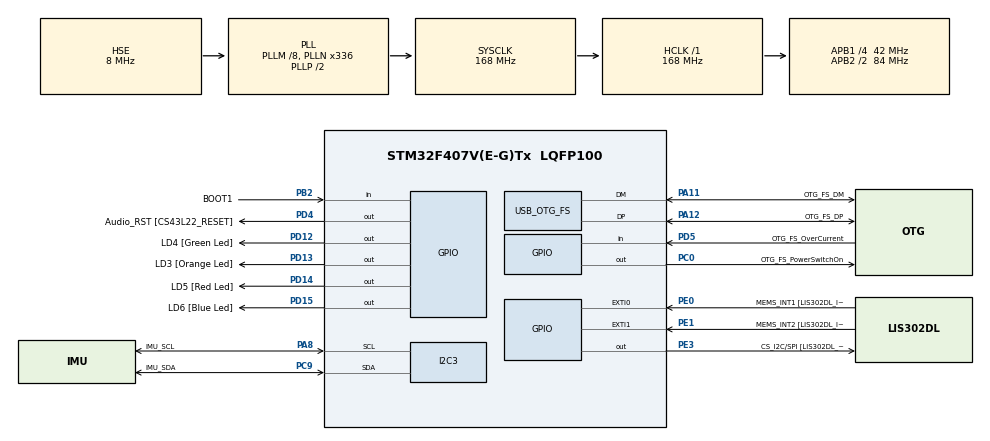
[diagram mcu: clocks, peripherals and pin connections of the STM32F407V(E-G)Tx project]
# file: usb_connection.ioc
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I2C3.I2C_Mode=I2C_Fast
Mcu.Family=STM32F4
Mcu.Name=STM32F407V(E-G)Tx
Mcu.Package=LQFP100
NVIC.OTG_FS_IRQn=true\:0\:0\:false\:false\:true\:true
NVIC.PriorityGroup=NVIC_PRIORITYGROUP_0
PA10.GPIO_Label=OTG_FS_ID
PA10.GPIO_Mode=GPIO_MODE_AF_PP
PA10.GPIO_PuPd=GPIO_NOPULL
PA10.GPIO_Speed=GPIO_SPEED_FREQ_LOW
PA10.Signal=USB_OTG_FS_ID
PA11.GPIO_Label=OTG_FS_DM
PA11.GPIO_Mode=GPIO_MODE_AF_PP
PA11.GPIO_PuPd=GPIO_NOPULL
PA11.GPIO_Speed=GPIO_SPEED_FREQ_LOW
PA11.Mode=Device_Only
PA11.Signal=USB_OTG_FS_DM
PA12.GPIO_Label=OTG_FS_DP
PA12.GPIO_Mode=GPIO_MODE_AF_PP
PA12.GPIO_PuPd=GPIO_NOPULL
PA12.GPIO_Speed=GPIO_SPEED_FREQ_LOW
PA12.Mode=Device_Only
PA12.Signal=USB_OTG_FS_DP
PA13.GPIO_Label=SWDIO
PA13.Signal=SYS_JTMS-SWDIO
PA14.GPIO_Label=SWCLK
PA14.Signal=SYS_JTCK-SWCLK
PA4.GPIO_Label=I2S3_WS [CS43L22_LRCK]
PA4.GPIO_Mode=GPIO_MODE_AF_PP
PA4.GPIO_PuPd=GPIO_NOPULL
PA4.GPIO_Speed=GPIO_SPEED_FREQ_LOW
PA4.Signal=I2S3_WS
PA5.GPIO_Label=SPI1_SCK [LIS302DL_SCL/SPC]
PA5.GPIO_Mode=GPIO_MODE_AF_PP
PA5.GPIO_PuPd=GPIO_NOPULL
PA5.GPIO_Speed=GPIO_SPEED_FREQ_LOW
PA5.Signal=SPI1_SCK
PA6.GPIO_Label=SPI1_MISO [LIS302DL_SDO]
PA6.GPIO_Mode=GPIO_MODE_AF_PP
PA6.GPIO_PuPd=GPIO_NOPULL
PA6.GPIO_Speed=GPIO_SPEED_FREQ_LOW
PA6.Signal=SPI1_MISO
PA7.GPIO_Label=SPI1_MOSI [LIS302DL_SDA/SDI/SDO]
PA7.GPIO_Mode=GPIO_MODE_AF_PP
PA7.GPIO_PuPd=GPIO_NOPULL
PA7.GPIO_Speed=GPIO_SPEED_FREQ_LOW
PA7.Signal=SPI1_MOSI
PA8.GPIO_Label=IMU_SCL
PA8.Mode=I2C
PA8.Signal=I2C3_SCL
PA9.GPIO_Label=VBUS_FS
PA9.GPIO_Mode=GPIO_MODE_INPUT
PA9.GPIO_PuPd=GPIO_NOPULL
PA9.Signal=USB_OTG_FS_VBUS
PB10.GPIO_Label=CLK_IN [MP45DT02_CLK]
PB10.GPIO_Mode=GPIO_MODE_AF_PP
PB10.GPIO_PuPd=GPIO_NOPULL
PB10.GPIO_Speed=GPIO_SPEED_FREQ_LOW
PB10.Signal=I2S2_CK
PB2.GPIO_Label=BOOT1
PB2.GPIO_Mode=GPIO_MODE_INPUT
PB2.GPIO_PuPd=GPIO_NOPULL
PB2.Signal=GPIO_Input
PB3.GPIO_Label=SWO
PB3.Signal=SYS_JTDO-SWO
PB6.GPIO_Label=Audio_SCL [CS43L22_SCL]
PB6.GPIO_Mode=GPIO_MODE_AF_OD
PB6.GPIO_PuPd=GPIO_NOPULL
PB6.GPIO_Speed=GPIO_SPEED_FREQ_LOW
PB6.Signal=I2C1_SCL
PB9.GPIO_Label=Audio_SDA [CS43L22_SDA]
PB9.GPIO_Mode=GPIO_MODE_AF_OD
PB9.GPIO_PuPd=GPIO_NOPULL
PB9.GPIO_Speed=GPIO_SPEED_FREQ_LOW
PB9.Signal=I2C1_SDA
PC0.GPIO_Label=OTG_FS_PowerSwitchOn
PC0.GPIO_PuPd=GPIO_NOPULL
PC0.GPIO_Speed=GPIO_SPEED_FREQ_LOW
PC0.PinState=GPIO_PIN_SET
PC0.Signal=GPIO_Output
PC10.GPIO_Label=I2S3_SCK [CS43L22_SCLK]
PC10.GPIO_Mode=GPIO_MODE_AF_PP
PC10.GPIO_PuPd=GPIO_NOPULL
PC10.GPIO_Speed=GPIO_SPEED_FREQ_LOW
PC10.Signal=I2S3_CK
PC12.GPIO_Label=I2S3_SD [CS43L22_SDIN]
PC12.GPIO_Mode=GPIO_MODE_AF_PP
PC12.GPIO_PuPd=GPIO_NOPULL
PC12.GPIO_Speed=GPIO_SPEED_FREQ_LOW
PC12.Signal=I2S3_SD
PC14-OSC32_IN.GPIO_Label=PC14-OSC32_IN
PC14-OSC32_IN.Signal=RCC_OSC32_IN
PC15-OSC32_OUT.GPIO_Label=PC15-OSC32_OUT
PC15-OSC32_OUT.Signal=RCC_OSC32_OUT
PC3.GPIO_Label=PDM_OUT [MP45DT02_DOUT]
PC3.GPIO_Mode=GPIO_MODE_AF_PP
PC3.GPIO_PuPd=GPIO_NOPULL
PC3.GPIO_Speed=GPIO_SPEED_FREQ_LOW
PC3.Signal=I2S2_SD
PC7.GPIO_Label=I2S3_MCK [CS43L22_MCLK]
PC7.GPIO_Mode=GPIO_MODE_AF_PP
PC7.GPIO_PuPd=GPIO_NOPULL
PC7.GPIO_Speed=GPIO_SPEED_FREQ_LOW
PC7.Signal=I2S3_MCK
PC9.GPIO_Label=IMU_SDA
PC9.Mode=I2C
PC9.Signal=I2C3_SDA
PD12.GPIO_Label=LD4 [Green Led]
PD12.GPIO_PuPd=GPIO_NOPULL
PD12.GPIO_Speed=GPIO_SPEED_FREQ_LOW
PD12.Signal=GPIO_Output
PD13.GPIO_Label=LD3 [Orange Led]
PD13.GPIO_PuPd=GPIO_NOPULL
PD13.GPIO_Speed=GPIO_SPEED_FREQ_LOW
PD13.Signal=GPIO_Output
PD14.GPIO_Label=LD5 [Red Led]
PD14.GPIO_PuPd=GPIO_NOPULL
PD14.GPIO_Speed=GPIO_SPEED_FREQ_LOW
PD14.Signal=GPIO_Output
PD15.GPIO_Label=LD6 [Blue Led]
PD15.GPIO_PuPd=GPIO_NOPULL
PD15.GPIO_Speed=GPIO_SPEED_FREQ_LOW
PD15.Signal=GPIO_Output
PD4.GPIO_Label=Audio_RST [CS43L22_RESET]
PD4.GPIO_PuPd=GPIO_NOPULL
PD4.GPIO_Speed=GPIO_SPEED_FREQ_LOW
PD4.Signal=GPIO_Output
PD5.GPIO_Label=OTG_FS_OverCurrent
PD5.GPIO_Mode=GPIO_MODE_INPUT
PD5.GPIO_PuPd=GPIO_NOPULL
PD5.Signal=GPIO_Input
PE0.GPIO_Label=MEMS_INT1 [LIS302DL_INT1]
PE0.Signal=GPXTI0
PE1.GPIO_Label=MEMS_INT2 [LIS302DL_INT2]
PE1.GPIO_ModeDefaultEXTI=GPIO_MODE_EVT_RISING
PE1.GPIO_PuPd=GPIO_NOPULL
PE1.Signal=GPXTI1
PE3.GPIO_Label=CS_I2C/SPI [LIS302DL_CS_I2C/SPI]
PE3.GPIO_PuPd=GPIO_NOPULL
PE3.GPIO_Speed=GPIO_SPEED_FREQ_LOW
PE3.Signal=GPIO_Output
PH0-OSC_IN.GPIO_Label=PH0-OSC_IN
PH0-OSC_IN.Mode=HSE-External-Oscillator
PH0-OSC_IN.Signal=RCC_OSC_IN
PH1-OSC_OUT.GPIO_Label=PH1-OSC_OUT
PH1-OSC_OUT.Mode=HSE-External-Oscillator
PH1-OSC_OUT.Signal=RCC_OSC_OUT
ProjectManager.HeapSize=0x400
ProjectManager.StackSize=0x400
ProjectManager.TargetToolchain=SW4STM32
RCC.48MHZClocksFreq_Value=48000000
RCC.AHBFreq_Value=168000000
RCC.APB1CLKDivider=RCC_HCLK_DIV4
RCC.APB1Freq_Value=42000000
RCC.APB1TimFreq_Value=84000000
RCC.APB2CLKDivider=RCC_HCLK_DIV2
RCC.APB2Freq_Value=84000000
RCC.APB2TimFreq_Value=168000000
RCC.CortexFreq_Value=168000000
RCC.HCLKFreq_Value=168000000
RCC.HSE_VALUE=8000000
RCC.HSI_VALUE=16000000
RCC.LSE_VALUE=32768
RCC.PLLM=8
RCC.PLLN=336
RCC.PLLQ=7
RCC.SYSCLKFreq_VALUE=168000000
RCC.SYSCLKSource=RCC_SYSCLKSOURCE_PLLCLK
RCC.VCOOutputFreq_Value=336000000
USB_DEVICE.CLASS_NAME-CDC_FS=CDC
USB_DEVICE.CLASS_NAME_FS=CDC
USB_DEVICE.USBD_HandleTypeDef-CDC_FS=hUsbDeviceFS
USB_DEVICE.VirtualMode-CDC_FS=Cdc
USB_DEVICE.VirtualModeFS=Cdc_FS
USB_OTG_FS.VirtualMode=Device_Only
VP_USB_DEVICE_VS_USB_DEVICE_CDC_FS.Mode=CDC_FS
board=STM32F407G-DISC1

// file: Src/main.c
/**
  ******************************************************************************
  * File Name          : main.c
  * Description        : Main program body
  ******************************************************************************
  * This notice applies to any and all portions of this file
  * that are not between comment pairs USER CODE BEGIN and
  * USER CODE END. Other portions of this file, whether
  * inserted by the user or by software development tools
  * are owned by their respective copyright owners.
  *
  * Copyright (c) 2017 STMicroelectronics International N.V.
  * All rights reserved.
  *
  * Redistribution and use in source and binary forms, with or without
  * modification, are permitted, provided that the following conditions are met:
  *
  * 1. Redistribution of source code must retain the above copyright notice,
  *    this list of conditions and the following disclaimer.
  * 2. Redistributions in binary form must reproduce the above copyright notice,
  *    this list of conditions and the following disclaimer in the documentation
  *    and/or other materials provided with the distribution.
  * 3. Neither the name of STMicroelectronics nor the names of other
  *    contributors to this software may be used to endorse or promote products
  *    derived from this software without specific written permission.
  * 4. This software, including modifications and/or derivative works of this
  *    software, must execute solely and exclusively on microcontroller or
  *    microprocessor devices manufactured by or for STMicroelectronics.
  * 5. Redistribution and use of this software other than as permitted under
  *    this license is void and will automatically terminate your rights under
  *    this license.
  *
  * THIS SOFTWARE IS PROVIDED BY STMICROELECTRONICS AND CONTRIBUTORS "AS IS"
  * AND ANY EXPRESS, IMPLIED OR STATUTORY WARRANTIES, INCLUDING, BUT NOT
  * LIMITED TO, THE IMPLIED WARRANTIES OF MERCHANTABILITY, FITNESS FOR A
  * PARTICULAR PURPOSE AND NON-INFRINGEMENT OF THIRD PARTY INTELLECTUAL PROPERTY
  * RIGHTS ARE DISCLAIMED TO THE FULLEST EXTENT PERMITTED BY LAW. IN NO EVENT
  * SHALL STMICROELECTRONICS OR CONTRIBUTORS BE LIABLE FOR ANY DIRECT, INDIRECT,
  * INCIDENTAL, SPECIAL, EXEMPLARY, OR CONSEQUENTIAL DAMAGES (INCLUDING, BUT NOT
  * LIMITED TO, PROCUREMENT OF SUBSTITUTE GOODS OR SERVICES; LOSS OF USE, DATA,
  * OR PROFITS; OR BUSINESS INTERRUPTION) HOWEVER CAUSED AND ON ANY THEORY OF
  * LIABILITY, WHETHER IN CONTRACT, STRICT LIABILITY, OR TORT (INCLUDING
  * NEGLIGENCE OR OTHERWISE) ARISING IN ANY WAY OUT OF THE USE OF THIS SOFTWARE,
  * EVEN IF ADVISED OF THE POSSIBILITY OF SUCH DAMAGE.
  *
  ******************************************************************************
  */
#include "main.h"
#include "stm32f4xx_hal.h"
#include "i2c.h"
#include "usb_device.h"
#include "gpio.h"

/* USER CODE BEGIN Includes */
#include "math.h"
#include "matrix.h"
#include "usbd_cdc_if.h"
#include "LSM6DS33_accelerometer.h"
#include "LIS3MDL_magnetometer.h"

/* USER CODE END Includes */

/* USER CODE BEGIN PV */
/* Private variables ---------------------------------------------------------*/

// variables for storing accelerometer, gyroscope and magnetometer data
float acc_x_g = 0.0, acc_y_g = 0.0, acc_z_g = 0.0;
float gyro_x_dps = 0.0, gyro_y_dps = 0.0, gyro_z_dps = 0.0;
float mag_x_gauss = 0.0, mag_y_gauss = 0.0, mag_z_gauss = 0.0;

float roll = 0.0, pitch = 0.0, yaw = 0.0;
float roll_estimate = 0.0, pitch_estimate = 0.0, yaw_estimate = 0.0;

/* USER CODE END PV */

void SystemClock_Config(void);

/* USER CODE BEGIN PFP */
/* Private function prototypes -----------------------------------------------*/
float kalmanFilter(float u, float y, float *A, float *B, float *C, float *Q,
		float R, float *x_corr, float *P_corr);

/* USER CODE END PFP */

int main(void)
{
  /* USER CODE BEGIN 1 */
	const int kLSM6DS33MessageLength = 12; // 12 - accelerometer 6 bytes, gyroscope 6 bytes
	const int kLIS3MDLMessageLength = 6;   // magnetometer 6 bytes
	const int kMessageLength = kLSM6DS33MessageLength + kLIS3MDLMessageLength;

	uint8_t data_to_send[kMessageLength];

	// Kalman filter variables
	float dt = 0.001;
	float A[] = { 1.0, -dt, 0.0, 1.0 };
	float B[] = { dt, 0.0 };
	float C[] = { 1.0, 0.0 };
	float R = 1;
	float q = 0.0001;
	float Q[] = { q, 0.0, 0.0, q };

	float u_roll = 0.0, u_pitch = 0.0, u_yaw = 0.0;
	float x_corr_roll[] = { 0.0, 0.0 }, x_corr_pitch[] = { 0.0, 0.0 },
			x_corr_yaw[] = { 0.0, 0.0 };
	float P_corr_roll[] = { q, 0.0, 0.0, q }, P_corr_pitch[] = { q, 0.0, 0.0, q },
			P_corr_yaw[] = { q, 0.0, 0.0, q };

  /* USER CODE END 1 */

  /* MCU Configuration----------------------------------------------------------*/

  /* Reset of all peripherals, Initializes the Flash interface and the Systick. */
  HAL_Init();

  /* Configure the system clock */
  SystemClock_Config();

  /* Initialize all configured peripherals */
  MX_GPIO_Init();
	MX_USB_DEVICE_Init();
	MX_I2C3_Init();

  /* USER CODE BEGIN 2 */

	checkLIS3MDLConnection(&hi2c3);
	checkLSM6DS33Connection(&hi2c3);
	initializeLIS3MDL(&hi2c3);
	initializeLSM6DS33(&hi2c3);

	// Get new data
	accelerometerReadAllAxis(&hi2c3, &acc_x_g, &acc_y_g, &acc_z_g);
	gyroscopeReadAllAxis(&hi2c3, &gyro_x_dps, &gyro_y_dps, &gyro_z_dps);
	magnetometerReadAllAxis(&hi2c3, &mag_x_gauss, &mag_y_gauss, &mag_z_gauss);

	roll = ((float) atan2(acc_z_g, acc_y_g) * (180.0 / 3.1415926) - 88.9494);
	pitch = ((float) atan2(acc_z_g, acc_x_g) * (180.0 / 3.1415926) - 91.139);
	yaw = ((float) atan2(mag_x_gauss, mag_y_gauss) * (180.0 / 3.1415926));

	u_roll = gyro_x_dps;
	u_pitch = gyro_y_dps;
	u_yaw = gyro_z_dps;

	x_corr_roll[0] = roll;
	x_corr_pitch[0] = pitch;
	x_corr_yaw[0] = yaw;
  /* USER CODE END 2 */

  /* Infinite loop */
  /* USER CODE BEGIN WHILE */
	while (1) {
		HAL_GPIO_TogglePin(LD4_GPIO_Port, LD4_Pin);

		// Calculate new roll & pitch & yaw estimate
		roll_estimate = kalmanFilter(u_roll, roll, A, B, C, Q, R, x_corr_roll,
				P_corr_roll);
		pitch_estimate = kalmanFilter(u_pitch, pitch, A, B, C, Q, R, x_corr_pitch,
				P_corr_pitch);
		yaw_estimate = kalmanFilter(u_yaw, yaw, A, B, C, Q, R, x_corr_yaw,
				P_corr_yaw);

		//readDataFromLSM6DS33(&hi2c3, data_to_send);
		//readDataFromLIS3MDL(&hi2c3, data_to_send + kLSM6DS33MessageLength);
		//CDC_Transmit_FS(data_to_send, kMessageLength);

		HAL_Delay(1);

		// Get new data from IMU-10
		accelerometerReadAllAxis(&hi2c3, &acc_x_g, &acc_y_g, &acc_z_g);
		gyroscopeReadAllAxis(&hi2c3, &gyro_x_dps, &gyro_y_dps, &gyro_z_dps);
		magnetometerReadAllAxis(&hi2c3, &mag_x_gauss, &mag_y_gauss, &mag_z_gauss);

		// Calculate angles
		roll = ((float) atan2(acc_z_g, acc_y_g) * (180.0 / 3.1415926) - 88.9494);
		pitch = ((float) atan2(acc_z_g, acc_x_g) * (180.0 / 3.1415926) - 91.139);
		yaw = ((float) atan2(mag_x_gauss, mag_y_gauss) * (180.0 / 3.1415926));

		u_roll = gyro_x_dps;
		u_pitch = gyro_y_dps;
		u_yaw = gyro_z_dps;

  /* USER CODE END WHILE */

  }

}

/** System Clock Configuration
*/
void SystemClock_Config(void)
{

  RCC_OscInitTypeDef RCC_OscInitStruct;
  RCC_ClkInitTypeDef RCC_ClkInitStruct;

    /**Configure the main internal regulator output voltage
    */
  __HAL_RCC_PWR_CLK_ENABLE();

  __HAL_PWR_VOLTAGESCALING_CONFIG(PWR_REGULATOR_VOLTAGE_SCALE1);

    /**Initializes the CPU, AHB and APB busses clocks
    */
  RCC_OscInitStruct.OscillatorType = RCC_OSCILLATORTYPE_HSE;
  RCC_OscInitStruct.HSEState = RCC_HSE_ON;
  RCC_OscInitStruct.PLL.PLLState = RCC_PLL_ON;
  RCC_OscInitStruct.PLL.PLLSource = RCC_PLLSOURCE_HSE;
  RCC_OscInitStruct.PLL.PLLM = 8;
  RCC_OscInitStruct.PLL.PLLN = 336;
  RCC_OscInitStruct.PLL.PLLP = RCC_PLLP_DIV2;
  RCC_OscInitStruct.PLL.PLLQ = 7;
  if (HAL_RCC_OscConfig(&RCC_OscInitStruct) != HAL_OK)
  {
    _Error_Handler(__FILE__, __LINE__);
  }

    /**Initializes the CPU, AHB and APB busses clocks
    */
  RCC_ClkInitStruct.ClockType = RCC_CLOCKTYPE_HCLK|RCC_CLOCKTYPE_SYSCLK
                              |RCC_CLOCKTYPE_PCLK1|RCC_CLOCKTYPE_PCLK2;
  RCC_ClkInitStruct.SYSCLKSource = RCC_SYSCLKSOURCE_PLLCLK;
  RCC_ClkInitStruct.AHBCLKDivider = RCC_SYSCLK_DIV1;
  RCC_ClkInitStruct.APB1CLKDivider = RCC_HCLK_DIV4;
  RCC_ClkInitStruct.APB2CLKDivider = RCC_HCLK_DIV2;

  if (HAL_RCC_ClockConfig(&RCC_ClkInitStruct, FLASH_LATENCY_5) != HAL_OK)
  {
    _Error_Handler(__FILE__, __LINE__);
  }

    /**Configure the Systick interrupt time
    */
  HAL_SYSTICK_Config(HAL_RCC_GetHCLKFreq()/1000);

    /**Configure the Systick
    */
  HAL_SYSTICK_CLKSourceConfig(SYSTICK_CLKSOURCE_HCLK);

  /* SysTick_IRQn interrupt configuration */
  HAL_NVIC_SetPriority(SysTick_IRQn, 0, 0);
}

/* USER CODE BEGIN 4 */
float kalmanFilter(float u, float y, float *A, float *B, float *C, float *Q,
		float R, float *x_corr, float *P_corr) {
	float xk_pred[] = { 0.0, 0.0 };
	float Pk_pred[] = { 0.0, 0.0, 0.0, 0.0 };

	// temporary matrixes for multiplication purposes
	float Ax[] = { 0.0, 0.0 };
	float Bu[] = { 0.0, 0.0 };

	float AP[] = { 0.0, 0.0, 0.0, 0.0 };
	float AT[] = { 0.0, 0.0, 0.0, 0.0 };
	float APAT[] = { 0.0, 0.0, 0.0, 0.0 };

	float PCT[] = { 0.0, 0.0 };
	float CP[] = { 0.0, 0.0 };
	float K[] = { 0.0, 0.0 };
	float Ke[] = { 0.0, 0.0 };
	float KC[] = { 0.0, 0.0, 0.0, 0.0 };
	float eye[] = { 1.0, 0.0, 0.0, 1.0 };
	float eye_minus_KC[] = { 0.0, 0.0, 0.0, 0.0 };

	float CPCT = 0.0;
	float S = 0.0;
	float Cx = 0.0;
	float error = 0.0;

	// xk_pred = A*xk_corr + B*u
	matrix_2x2_mul_2x1(A, x_corr, Ax);
	matrix_2x1_mul_1x1(B, &u, Bu);
	matrix_2x1_add_2x1(Ax, Bu, xk_pred);

	// Pk_pred = A*Pk_corr*transpose(A) + Q
	matrix_2x2_mul_2x2(A, P_corr, AP);
	matrix_2x2_trans(A, AT);
	matrix_2x2_mul_2x2(AP, AT, APAT);
	matrix_2x2_add_2x2(APAT, Q, Pk_pred);

	// error = y - C*xk_pred
	matrix_1x2_mul_2x1(C, xk_pred, &Cx);
	error = y - Cx;

	// K = (Pk_pred*transpose(C)) / (C*Pk_pred*transpose(C) + R)
	matrix_2x2_mul_2x1(Pk_pred, C, PCT);
	matrix_1x2_mul_2x2(C, Pk_pred, CP);
	matrix_1x2_mul_2x1(CP, C, &CPCT);
	S = 1.0 / (float) (CPCT + R);
	matrix_2x1_mul_1x1(PCT, &S, K);

	// xk_corr = xk_pred + K*error
	matrix_2x1_mul_1x1(K, &error, Ke);
	matrix_2x1_add_2x1(xk_pred, Ke, x_corr);

	// Pk_corr = (eye(2) - K*C) / Pk_pred
	matrix_2x1_mul_1x2(K, C, KC);
	matrix_2x2_sub_2x2(eye, KC, eye_minus_KC);
	matrix_2x2_mul_2x2(eye_minus_KC, Pk_pred, P_corr);

	// We have calculated new estimate
	return x_corr[0];
}
/* USER CODE END 4 */

void _Error_Handler(char * file, int line)
{
	while (1) {
  }
}

/************************ (C) COPYRIGHT STMicroelectronics *****END OF FILE****/
